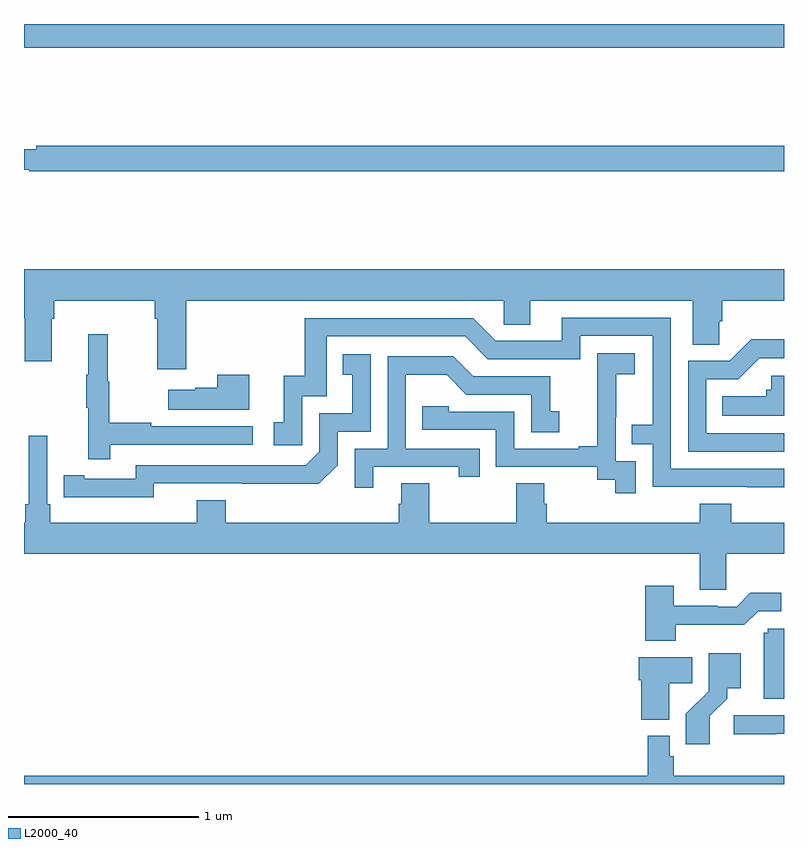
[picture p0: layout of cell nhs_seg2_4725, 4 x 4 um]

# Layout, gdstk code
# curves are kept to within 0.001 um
import gdstk
lib = gdstk.Library(unit=1e-6, precision=1e-09)
def R(c, l, rs):  # rectangles x0, y0, x1, y1
    for r in rs: c.add(gdstk.rectangle(r[:2], r[2:], *l))
def P(c, l, *ps):  # polygons
    for p in ps: c.add(gdstk.Polygon(p, *l))
L2000_40 = (2000, 40)

nhs_seg2_4725 = lib.new_cell('nhs_seg2_4725')
R(nhs_seg2_4725, L2000_40, [(369,607.676,373,607.8)])
P(nhs_seg2_4725, L2000_40, [(373,607.16),(369.064,607.16),(369.064,607.141),(369,607.141),(369,607.032),(369.028,607.032),(369.028,607.024),(373,607.024)],
  [(369,606.248),(369.005,606.248),(369.005,606.024),(369.145,606.024),(369.145,606.248),(369.158,606.248),(369.158,606.344),(369.689,606.344),(369.689,606.248),(369.701,606.248),(369.701,605.982),(369.854,605.982),(369.854,606.344),(371.526,606.344),(371.526,606.217),(371.665,606.217),(371.665,606.344),(372.521,606.344),(372.521,606.112),(372.66,606.112),(372.66,606.235),(372.674,606.235),(372.674,606.344),(373,606.344),(373,606.508),(369,606.508)],
  [(373,605.46),(372.405,605.46),(372.405,606.255),(371.831,606.255),(371.831,606.132),(371.484,606.132),(371.364,606.252),(370.477,606.252),(370.477,605.95),(370.367,605.95),(370.367,605.703),(370.314,605.703),(370.314,605.583),(370.464,605.583),(370.464,605.841),(370.593,605.841),(370.593,606.156),(371.322,606.156),(371.442,606.036),(371.928,606.036),(371.928,606.159),(372.309,606.159),(372.309,605.69),(372.199,605.69),(372.199,605.589),(372.309,605.589),(372.309,605.364),(373,605.363)],
  [(369.455,605.586),(370.204,605.586),(370.204,605.682),(369.671,605.682),(369.671,605.702),(369.448,605.702),(369.448,605.916),(369.44,605.916),(369.44,606.166),(369.338,606.166),(369.338,605.953),(369.327,605.953),(369.327,605.779),(369.338,605.779),(369.338,605.508),(369.455,605.508)],
  [(373,605.646),(372.591,605.646),(372.591,605.931),(372.76,605.931),(372.871,606.042),(373,606.042),(373,606.14),(372.827,606.14),(372.714,606.027),(372.495,606.027),(372.495,605.55),(373,605.55)],
  [(372.219,605.499),(372.114,605.499),(372.114,605.729),(372.116,605.729),(372.116,605.957),(372.214,605.957),(372.214,606.067),(372.016,606.067),(372.016,605.861),(372.017,605.861),(372.017,605.578),(371.921,605.578),(371.921,605.565),(371.58,605.565),(371.58,605.76),(371.235,605.76),(371.235,605.787),(371.095,605.787),(371.095,605.664),(371.484,605.664),(371.484,605.469),(372.018,605.469),(372.018,605.401),(372.111,605.401),(372.111,605.331),(372.219,605.331)],
  [(369.684,605.382),(370.552,605.381),(370.65,605.478),(370.65,605.655),(370.824,605.655),(370.824,606.061),(370.678,606.061),(370.678,605.955),(370.727,605.955),(370.727,605.751),(370.554,605.751),(370.554,605.55),(370.482,605.478),(369.588,605.478),(369.588,605.406),(369.316,605.406),(369.316,605.426),(369.208,605.426),(369.208,605.31),(369.684,605.309)],
  [(370.837,605.469),(371.288,605.469),(371.288,605.418),(371.399,605.418),(371.399,605.565),(371.01,605.565),(371.01,605.954),(371.224,605.954),(371.328,605.85),(371.67,605.85),(371.67,605.652),(371.818,605.652),(371.818,605.761),(371.769,605.761),(371.769,605.946),(371.365,605.946),(371.26,606.051),(370.914,606.051),(370.914,605.565),(370.74,605.565),(370.74,605.358),(370.837,605.358)],
  [(370.186,605.953),(370.016,605.953),(370.016,605.885),(369.902,605.885),(369.902,605.875),(369.759,605.875),(369.759,605.771),(370.186,605.771)],
  [(373,605.95),(372.933,605.95),(372.933,605.874),(372.907,605.874),(372.907,605.842),(372.676,605.842),(372.676,605.738),(373,605.738)],
  [(372.696,605.012),(373,605.012),(373,605.176),(372.722,605.176),(372.722,605.275),(372.557,605.275),(372.557,605.176),(371.75,605.176),(371.75,605.274),(371.737,605.274),(371.737,605.384),(371.59,605.384),(371.59,605.176),(371.133,605.176),(371.133,605.384),(370.985,605.384),(370.985,605.274),(370.973,605.274),(370.973,605.176),(370.061,605.176),(370.061,605.293),(369.908,605.293),(369.908,605.176),(369.137,605.176),(369.137,605.272),(369.123,605.272),(369.123,605.632),(369.026,605.632),(369.026,605.272),(369.007,605.272),(369.007,605.176),(369,605.176),(369,605.012),(372.557,605.012),(372.557,604.822),(372.696,604.822)],
  [(372.429,604.638),(372.791,604.638),(372.864,604.71),(372.985,604.71),(372.985,604.807),(372.823,604.807),(372.75,604.734),(372.65,604.734),(372.65,604.737),(372.421,604.737),(372.421,604.843),(372.269,604.843),(372.269,604.553),(372.429,604.553)],
  [(373,604.617),(372.915,604.617),(372.915,604.596),(372.893,604.596),(372.893,604.248),(373,604.248)],
  [(372.61,604.159),(372.7,604.249),(372.7,604.304),(372.772,604.304),(372.772,604.489),(372.605,604.489),(372.605,604.44),(372.603,604.44),(372.603,604.289),(372.484,604.17),(372.484,604.008),(372.61,604.008)],
  [(372.397,604.33),(372.518,604.33),(372.518,604.468),(372.236,604.468),(372.236,604.347),(372.248,604.347),(372.248,604.139),(372.397,604.139)],
  [(372.959,604.065),(373,604.065),(373,604.161),(372.735,604.161),(372.735,604.063),(372.959,604.063)],
  [(373,603.844),(372.419,603.844),(372.419,603.945),(372.399,603.945),(372.399,604.054),(372.283,604.054),(372.283,603.844),(369,603.844),(369,603.8),(373,603.8)])

lib.write_gds('nhs_seg2_4725.gds')
